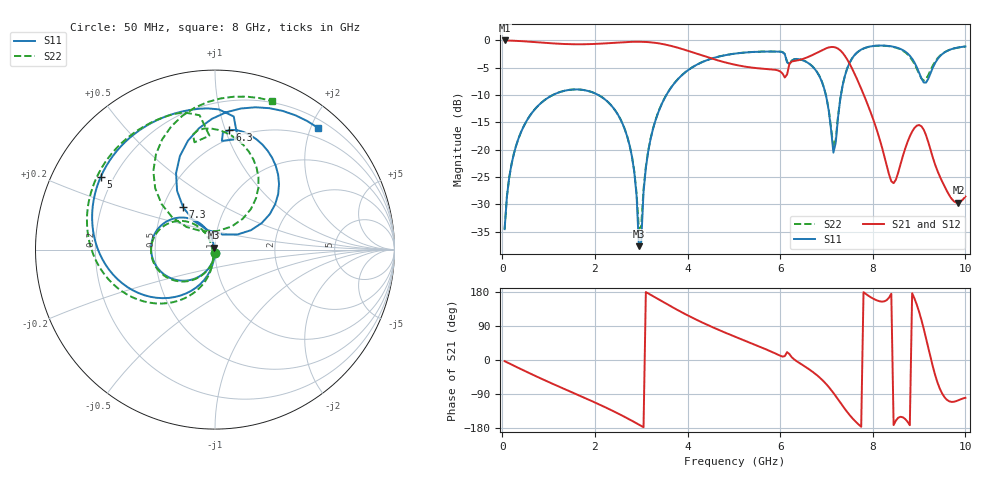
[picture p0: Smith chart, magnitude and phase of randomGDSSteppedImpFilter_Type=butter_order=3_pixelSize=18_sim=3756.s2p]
! freq	dB(S11)	phase(S11)	dB(S12)	phase(S12)
!  dB(S21)	phase(S21)	dB(S22)	phase(S22)
!S-par simulation data
#  GHz  S  DB  R 50
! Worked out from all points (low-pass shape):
!   200 points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, 50 MHz to 10 GHz, reference 50 ohm
!   highest |S21| = -0.01 dB at 50 MHz (marker M1); lowest = -29.7 dB at 9.85 GHz (marker M2)
!   |S21| within 3 dB of the highest: start of sweep to 4.407 GHz; 6.61 GHz to 7.412 GHz (802.2 MHz wide, 11.4 % of centre)
!   lowest |S11| = -37.6 dB at 2.95 GHz (marker M3), VSWR 1.03, Z = 49.3 + j1.11 ohm
!   |S11| at or under -10 dB: start of sweep to 1.087 GHz; 2.077 GHz to 3.542 GHz (1.465 GHz wide, 52.1 % of centre); 6.986 GHz to 7.313 GHz (327 MHz wide, 4.57 % of centre)
!   |S22| runs from -34.6 to -1.0 dB; largest |S21 - S12| = 0
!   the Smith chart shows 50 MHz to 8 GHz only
!   S11 on the Smith chart (normalised r, x): 50 MHz: 1.00, -0.04; 5 GHz: 0.15, +0.29; 6.3 GHz: 0.43, +1.03; 7.3 GHz: 0.63, +0.33; 8 GHz: 0.33, +2.11
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0.05  -34.52 -93.0  -0.01 -3.1  -0.01 -3.1  -34.52 -92.9
0.5  -15.10 -120.7  -0.18 -29.8  -0.18 -29.8  -15.10 -119.8
1.75  -9.06 169.5  -0.70 -98.4  -0.70 -98.4  -9.06 173.1
2.65  -16.36 117.4  -0.31 -150.6  -0.31 -150.6  -16.35 125.3
2.85  -24.07 106.2  -0.24 -163.7  -0.24 -163.7  -23.94 119.8
2.95  -37.63 120.7  -0.24 -170.5  -0.24 -170.5  -34.58 153.0
3.15  -20.34 -100.2  -0.31 175.7  -0.31 175.7  -20.22 -100.5
3.4  -12.48 -116.6  -0.56 158.2  -0.56 158.2  -12.44 -112.8
5  -2.44 147.4  -4.40 62.8  -4.40 62.8  -2.43 157.7
5.05  -2.39 144.9  -4.49 60.3  -4.49 60.3  -2.38 155.3
6.3  -3.46 83.1  -3.76 1.8  -3.76 1.8  -3.45 98.2
6.7  -4.78 54.0  -2.66 -31.1  -2.66 -31.1  -4.77 70.9
7.15  -20.53 62.7  -1.20 -86.8  -1.20 -86.8  -19.62 81.7
7.3  -10.62 127.0  -1.83 -112.5  -1.83 -112.5  -10.56 143.1
7.65  -2.29 85.3  -6.88 -165.1  -6.88 -165.1  -2.31 103.8
8  -1.03 49.8  -14.21 162.6  -14.21 162.6  -1.05 69.1
8.35  -1.02 17.8  -24.48 164.3  -24.48 164.3  -1.06 37.0
8.9  -4.02 -63.7  -16.01 162.4  -16.01 162.4  -4.31 -50.2
9.15  -7.71 179.0  -17.33 57.6  -17.33 57.6  -7.08 -168.1
9.4  -3.41 77.2  -23.92 -60.4  -23.92 -60.4  -3.25 100.0
9.85  -1.28 15.9  -29.68 -106.1  -29.68 -106.1  -1.30 39.9
10  -1.11 3.7  -28.55 -99.7  -28.55 -99.7  -1.12 27.5
